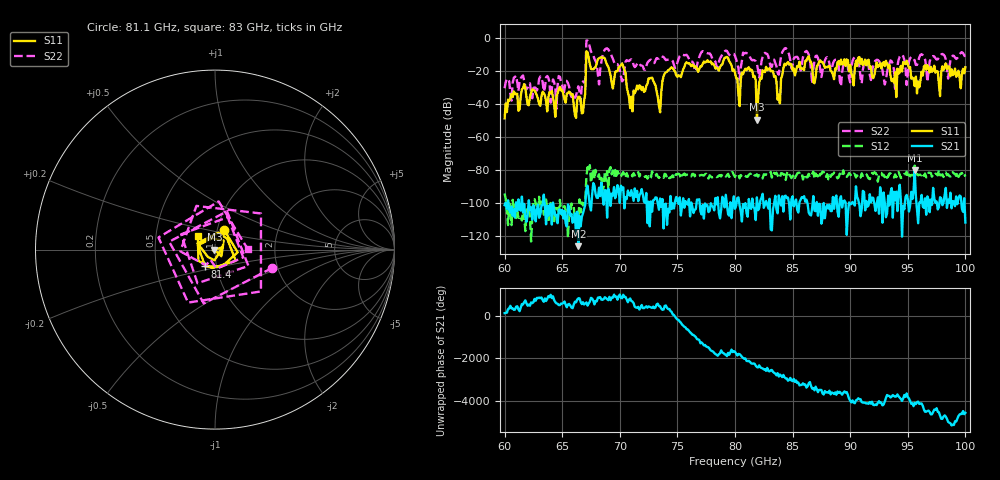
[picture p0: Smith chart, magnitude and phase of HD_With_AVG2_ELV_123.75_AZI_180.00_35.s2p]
! 11/25/2026 10:27:33 AM
! C:\ANRITSUVNA\TEMP\TEMP.S2P
! CHANNEL.1
! TR.MEASUREMENT
! RAW.DATA
# HZ S RI R 50.0
! FREQ.HZ  S11RE  S11IM  S21RE  S21IM  S12RE  S12IM  S22RE  S22IM
!; PortSelection: Port_12
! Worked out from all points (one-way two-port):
!   401 points, 60 GHz to 100 GHz, reference 50 ohm
!   highest |S21| = -79.93 dB at 95.6 GHz (marker M1); lowest = -125.9 dB at 66.4 GHz (marker M2)
!   lowest |S11| = -49.6 dB at 81.9 GHz (marker M3), VSWR 1.01, Z = 49.7 - j0.0294 ohm
!   |S11| at or under -10 dB: start of sweep to 67.09 GHz; 67.24 GHz to end of sweep
!   |S22| runs from -42.9 to -1.7 dB; largest |S21 - S12| = 0.00016
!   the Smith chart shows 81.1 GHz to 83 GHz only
!   S11 on the Smith chart (normalised r, x): 81.1 GHz: 1.08, +0.24; 81.4 GHz: 0.88, -0.17; 83 GHz: 0.82, +0.12
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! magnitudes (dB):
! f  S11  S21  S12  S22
! 60 GHz  -48.7  -101.1  -94.0  -30.5
! 61.6 GHz  -30.6  -105.5  -104.8  -22.8
! 66.4 GHz  -35.7  -125.9  -110.8  -29.4
! 66.7 GHz  -45.7  -108.3  -99.5  -29.5
! 67.3 GHz  -12.1  -95.5  -80.7  -3.2
! 68.4 GHz  -11.8  -87.5  -84.7  -14.7
! 70.3 GHz  -17.5  -90.3  -81.1  -25.5
! 70.9 GHz  -42.5  -95.4  -82.3  -13.5
! 72.7 GHz  -24.4  -98.8  -84.5  -13.3
! 73.4 GHz  -41.3  -103.9  -84.6  -12.6
! 74.4 GHz  -18.6  -95.6  -84.5  -13.4
! 80 GHz  -21.2  -103.2  -84.1  -11.0
! 81.1 GHz  -18.4  -108.1  -84.0  -9.5
! 81.4 GHz  -19.3  -103.3  -82.1  -13.0
! 81.9 GHz  -49.6  -96.4  -82.5  -15.7
! 83 GHz  -18.4  -97.3  -82.1  -14.8
! 83.8 GHz  -34.5  -95.2  -84.2  -22.3
! 84.5 GHz  -15.5  -96.8  -82.1  -7.0
! 86.7 GHz  -17.6  -102.6  -81.9  -27.9
! 93.4 GHz  -16.4  -101.3  -82.0  -15.6
! 95.6 GHz  -29.2  -79.9  -77.2  -13.8
! 100 GHz  -17.9  -111.6  -83.9  -12.1
